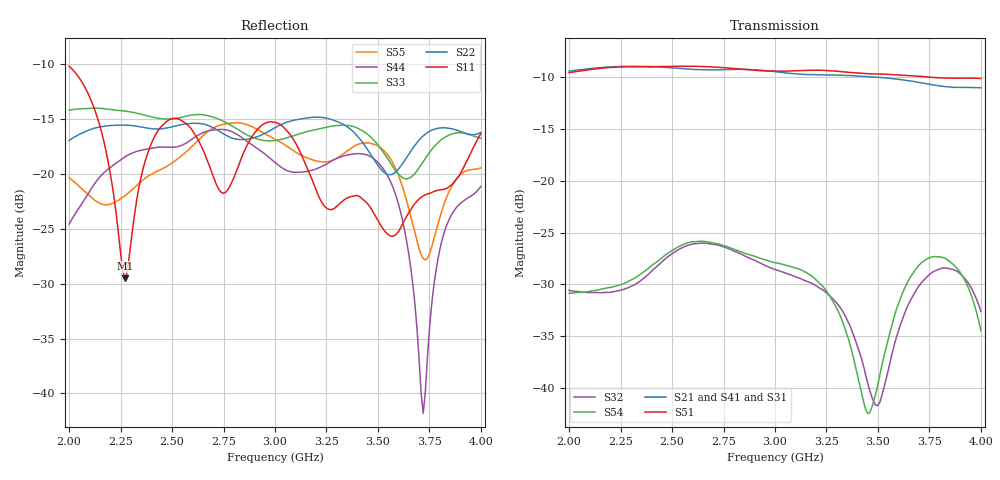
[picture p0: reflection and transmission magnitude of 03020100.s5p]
! Created with skrf 1.8.0 (http://scikit-rf.org).
# Hz S RI R 50.0
!freq ReS11 ImS11 ReS12 ImS12 ReS13 ImS13
! ReS14 ImS14 ReS15 ImS15
! ReS21 ImS21 ReS22 ImS22 ReS23 ImS23
! ReS24 ImS24 ReS25 ImS25
! ReS31 ImS31 ReS32 ImS32 ReS33 ImS33
! ReS34 ImS34 ReS35 ImS35
! ReS41 ImS41 ReS42 ImS42 ReS43 ImS43
! ReS44 ImS44 ReS45 ImS45
! ReS51 ImS51 ReS52 ImS52 ReS53 ImS53
! ReS54 ImS54 ReS55 ImS55
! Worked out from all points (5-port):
!   201 points, 2 GHz to 4 GHz, reference 50 ohm
!   strongest paths, dB at 2 GHz, 2.5 GHz, 3 GHz, 3.5 GHz, 4 GHz:
!     S51: -9.6, -9.0, -9.4, -9.7, -10.1
!     S21: -9.4, -9.1, -9.5, -10.0, -11.0
!     S41: -9.4, -9.1, -9.5, -9.9, -10.7
!     S31: -9.8, -9.5, -9.7, -10.2, -11.0
!     S54: -30.8, -26.7, -27.9, -39.6, -34.5
!     S32: -30.6, -27.0, -28.6, -41.7, -32.6
!   lowest |S11| = -29.5 dB at 2.27 GHz (marker M1), VSWR 1.07, Z = 48.2 + j2.72 ohm
!   |S11| at or under -10 dB: start of sweep to end of sweep
